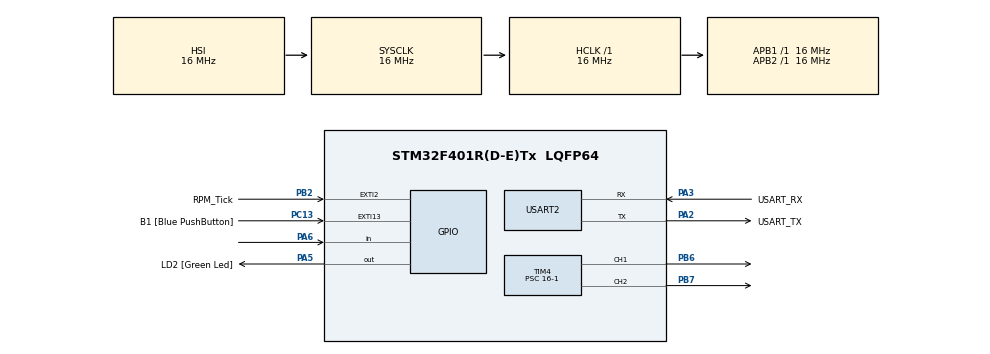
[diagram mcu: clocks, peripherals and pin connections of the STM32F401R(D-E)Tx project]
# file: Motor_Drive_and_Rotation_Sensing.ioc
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Mcu.Family=STM32F4
Mcu.Name=STM32F401R(D-E)Tx
Mcu.Package=LQFP64
NVIC.EXTI2_IRQn=true\:0\:0\:false\:false\:true\:true\:true\:true
NVIC.PriorityGroup=NVIC_PRIORITYGROUP_4
PA13.GPIO_Label=TMS
PA13.Mode=Trace_Asynchronous_SW
PA13.Signal=SYS_JTMS-SWDIO
PA14.GPIO_Label=TCK
PA14.Mode=Trace_Asynchronous_SW
PA14.Signal=SYS_JTCK-SWCLK
PA2.GPIO_Label=USART_TX
PA2.GPIO_Mode=GPIO_MODE_AF_PP
PA2.GPIO_PuPd=GPIO_NOPULL
PA2.GPIO_Speed=GPIO_SPEED_FREQ_LOW
PA2.Mode=Asynchronous
PA2.Signal=USART2_TX
PA3.GPIO_Label=USART_RX
PA3.GPIO_Mode=GPIO_MODE_AF_PP
PA3.GPIO_PuPd=GPIO_NOPULL
PA3.GPIO_Speed=GPIO_SPEED_FREQ_LOW
PA3.Mode=Asynchronous
PA3.Signal=USART2_RX
PA5.GPIO_Label=LD2 [Green Led]
PA5.GPIO_Mode=GPIO_MODE_OUTPUT_PP
PA5.GPIO_PuPd=GPIO_NOPULL
PA5.GPIO_Speed=GPIO_SPEED_FREQ_LOW
PA5.Signal=GPIO_Output
PA6.Signal=GPIO_Input
PB2.GPIO_Label=RPM_Tick
PB2.GPIO_PuPd=GPIO_NOPULL
PB2.Signal=GPXTI2
PB3.GPIO_Label=SWO
PB3.Mode=Trace_Asynchronous_SW
PB3.Signal=SYS_JTDO-SWO
PB6.Signal=S_TIM4_CH1
PB7.Signal=S_TIM4_CH2
PC13-ANTI_TAMP.GPIO_Label=B1 [Blue PushButton]
PC13-ANTI_TAMP.GPIO_ModeDefaultEXTI=GPIO_MODE_IT_FALLING
PC13-ANTI_TAMP.GPIO_PuPd=GPIO_NOPULL
PC13-ANTI_TAMP.Signal=GPXTI13
PC14-OSC32_IN.Mode=LSE-External-Oscillator
PC14-OSC32_IN.Signal=RCC_OSC32_IN
PC15-OSC32_OUT.Mode=LSE-External-Oscillator
PC15-OSC32_OUT.Signal=RCC_OSC32_OUT
PH0\ -\ OSC_IN.Mode=HSE-External-Clock-Source
PH0\ -\ OSC_IN.Signal=RCC_OSC_IN
PH1\ -\ OSC_OUT.Mode=HSE-External-Clock-Source
PH1\ -\ OSC_OUT.Signal=RCC_OSC_OUT
ProjectManager.HeapSize=0x200
ProjectManager.StackSize=0x400
ProjectManager.TargetToolchain=STM32CubeIDE
RCC.48MHZClocksFreq_Value=48000000
RCC.AHBFreq_Value=16000000
RCC.APB1Freq_Value=16000000
RCC.APB1TimFreq_Value=16000000
RCC.APB2Freq_Value=16000000
RCC.APB2TimFreq_Value=16000000
RCC.CortexFreq_Value=16000000
RCC.HCLKFreq_Value=16000000
RCC.HSE_VALUE=8000000
RCC.HSI_VALUE=16000000
RCC.PLLN=336
RCC.PLLP=RCC_PLLP_DIV4
RCC.PLLQ=7
RCC.SYSCLKFreq_VALUE=16000000
RCC.VCOOutputFreq_Value=336000000
SH.S_TIM4_CH1.0=TIM4_CH1,PWM Generation1 CH1
SH.S_TIM4_CH2.0=TIM4_CH2,PWM Generation2 CH2
TIM4.AutoReloadPreload=TIM_AUTORELOAD_PRELOAD_ENABLE
TIM4.Channel-PWM\ Generation1\ CH1=TIM_CHANNEL_1
TIM4.Channel-PWM\ Generation2\ CH2=TIM_CHANNEL_2
TIM4.Period=2000-1
TIM4.Prescaler=16-1
TIM4.Pulse-PWM\ Generation1\ CH1=1200-1
USART2.VirtualMode=VM_ASYNC
VP_TIM4_VS_ClockSourceINT.Mode=Internal
board=NUCLEO-F401RE

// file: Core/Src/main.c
/* USER CODE BEGIN Header */
/**
  ******************************************************************************
  * @file           : main.c
  * @brief          : Main program body
  ******************************************************************************
  * @attention
  *
  * Copyright (c) 2026 STMicroelectronics.
  * All rights reserved.
  *
  * This software is licensed under terms that can be found in the LICENSE file
  * in the root directory of this software component.
  * If no LICENSE file comes with this software, it is provided AS-IS.
  *
  ******************************************************************************
  */
/* USER CODE END Header */

#include "main.h"

/* USER CODE BEGIN Includes */
#include <stdio.h>
#include <string.h>
/* USER CODE END Includes */

TIM_HandleTypeDef htim4;

UART_HandleTypeDef huart2;

/* USER CODE BEGIN PV */
volatile uint32_t rpm_tick_count = 0;
/* USER CODE END PV */

void SystemClock_Config(void);
static void MX_GPIO_Init(void);
static void MX_USART2_UART_Init(void);
static void MX_TIM4_Init(void);

/* USER CODE BEGIN PFP */
static void RPM_Report(void);
/* USER CODE END PFP */

int main(void)
{

  HAL_Init();

  SystemClock_Config();

  MX_GPIO_Init();
  MX_USART2_UART_Init();
  MX_TIM4_Init();

  /* USER CODE BEGIN 2 */
  HAL_TIM_Base_Init(&htim4);
  HAL_TIM_PWM_Start(&htim4, TIM_CHANNEL_1);
  HAL_TIM_PWM_Start(&htim4, TIM_CHANNEL_2);
  /* USER CODE END 2 */

  while (1)
  {

    /* USER CODE BEGIN 3 */

    // Direction 1: CH1 produces PWM, CH2 stays at zero.
    TIM4->CCR2 = 0;

    for (int pulse = 1200; pulse <= 2000; pulse += 200)
    {
      TIM4->CCR1 = pulse;
      RPM_Report();
      HAL_Delay(5000);
    }

    for (int pulse = 1800; pulse >= 1200; pulse -= 200)
    {
      TIM4->CCR1 = pulse;
      RPM_Report();
      HAL_Delay(5000);
    }

    TIM4->CCR1 = 0;
    TIM4->CCR2 = 0;
    RPM_Report();
    HAL_Delay(5000);

    // Direction 2: CH2 produces PWM, CH1 stays at zero.

    for (int pulse = 1200; pulse <= 2000; pulse += 200)
    {
      TIM4->CCR2 = pulse;
      RPM_Report();
      HAL_Delay(5000);
    }

    for (int pulse = 1800; pulse >= 1200; pulse -= 200)
    {
      TIM4->CCR2 = pulse;
      RPM_Report();
      HAL_Delay(5000);
    }

    TIM4->CCR1 = 0;
    TIM4->CCR2 = 0;
    RPM_Report();
    HAL_Delay(5000);
  }
  /* USER CODE END 3 */
}

void SystemClock_Config(void)
{
  RCC_OscInitTypeDef RCC_OscInitStruct = {0};
  RCC_ClkInitTypeDef RCC_ClkInitStruct = {0};

  __HAL_RCC_PWR_CLK_ENABLE();
  __HAL_PWR_VOLTAGESCALING_CONFIG(PWR_REGULATOR_VOLTAGE_SCALE2);

  RCC_OscInitStruct.OscillatorType = RCC_OSCILLATORTYPE_HSI;
  RCC_OscInitStruct.HSIState = RCC_HSI_ON;
  RCC_OscInitStruct.HSICalibrationValue = RCC_HSICALIBRATION_DEFAULT;
  RCC_OscInitStruct.PLL.PLLState = RCC_PLL_NONE;

  if (HAL_RCC_OscConfig(&RCC_OscInitStruct) != HAL_OK)
  {
    Error_Handler();
  }

  RCC_ClkInitStruct.ClockType = RCC_CLOCKTYPE_HCLK | RCC_CLOCKTYPE_SYSCLK
                             | RCC_CLOCKTYPE_PCLK1 | RCC_CLOCKTYPE_PCLK2;
  RCC_ClkInitStruct.SYSCLKSource = RCC_SYSCLKSOURCE_HSI;
  RCC_ClkInitStruct.AHBCLKDivider = RCC_SYSCLK_DIV1;
  RCC_ClkInitStruct.APB1CLKDivider = RCC_HCLK_DIV1;
  RCC_ClkInitStruct.APB2CLKDivider = RCC_HCLK_DIV1;

  if (HAL_RCC_ClockConfig(&RCC_ClkInitStruct, FLASH_LATENCY_0) != HAL_OK)
  {
    Error_Handler();
  }
}

static void MX_TIM4_Init(void)
{

  TIM_ClockConfigTypeDef sClockSourceConfig = {0};
  TIM_MasterConfigTypeDef sMasterConfig = {0};
  TIM_OC_InitTypeDef sConfigOC = {0};

  htim4.Instance = TIM4;
  htim4.Init.Prescaler = 16 - 1;
  htim4.Init.CounterMode = TIM_COUNTERMODE_UP;
  htim4.Init.Period = 2000 - 1;
  htim4.Init.ClockDivision = TIM_CLOCKDIVISION_DIV1;
  htim4.Init.AutoReloadPreload = TIM_AUTORELOAD_PRELOAD_ENABLE;

  if (HAL_TIM_Base_Init(&htim4) != HAL_OK)
  {
    Error_Handler();
  }

  sClockSourceConfig.ClockSource = TIM_CLOCKSOURCE_INTERNAL;
  if (HAL_TIM_ConfigClockSource(&htim4, &sClockSourceConfig) != HAL_OK)
  {
    Error_Handler();
  }

  if (HAL_TIM_PWM_Init(&htim4) != HAL_OK)
  {
    Error_Handler();
  }

  sMasterConfig.MasterOutputTrigger = TIM_TRGO_RESET;
  sMasterConfig.MasterSlaveMode = TIM_MASTERSLAVEMODE_DISABLE;

  if (HAL_TIMEx_MasterConfigSynchronization(&htim4, &sMasterConfig) != HAL_OK)
  {
    Error_Handler();
  }

  sConfigOC.OCMode = TIM_OCMODE_PWM1;
  sConfigOC.Pulse = 1200 - 1;
  sConfigOC.OCPolarity = TIM_OCPOLARITY_HIGH;
  sConfigOC.OCFastMode = TIM_OCFAST_DISABLE;

  if (HAL_TIM_PWM_ConfigChannel(&htim4, &sConfigOC, TIM_CHANNEL_1) != HAL_OK)
  {
    Error_Handler();
  }

  sConfigOC.Pulse = 0;
  if (HAL_TIM_PWM_ConfigChannel(&htim4, &sConfigOC, TIM_CHANNEL_2) != HAL_OK)
  {
    Error_Handler();
  }

  HAL_TIM_MspPostInit(&htim4);
}

static void MX_USART2_UART_Init(void)
{

  huart2.Instance = USART2;
  huart2.Init.BaudRate = 115200;
  huart2.Init.WordLength = UART_WORDLENGTH_8B;
  huart2.Init.StopBits = UART_STOPBITS_1;
  huart2.Init.Parity = UART_PARITY_NONE;
  huart2.Init.Mode = UART_MODE_TX_RX;
  huart2.Init.HwFlowCtl = UART_HWCONTROL_NONE;
  huart2.Init.OverSampling = UART_OVERSAMPLING_16;

  if (HAL_UART_Init(&huart2) != HAL_OK)
  {
    Error_Handler();
  }

}

static void MX_GPIO_Init(void)
{
  GPIO_InitTypeDef GPIO_InitStruct = {0};

  __HAL_RCC_GPIOC_CLK_ENABLE();
  __HAL_RCC_GPIOH_CLK_ENABLE();
  __HAL_RCC_GPIOA_CLK_ENABLE();
  __HAL_RCC_GPIOB_CLK_ENABLE();

  HAL_GPIO_WritePin(LD2_GPIO_Port, LD2_Pin, GPIO_PIN_RESET);

  GPIO_InitStruct.Pin = B1_Pin;
  GPIO_InitStruct.Mode = GPIO_MODE_IT_FALLING;
  GPIO_InitStruct.Pull = GPIO_NOPULL;
  HAL_GPIO_Init(B1_GPIO_Port, &GPIO_InitStruct);

  GPIO_InitStruct.Pin = LD2_Pin;
  GPIO_InitStruct.Mode = GPIO_MODE_OUTPUT_PP;
  GPIO_InitStruct.Pull = GPIO_NOPULL;
  GPIO_InitStruct.Speed = GPIO_SPEED_FREQ_LOW;
  HAL_GPIO_Init(LD2_GPIO_Port, &GPIO_InitStruct);

  GPIO_InitStruct.Pin = GPIO_PIN_6;
  GPIO_InitStruct.Mode = GPIO_MODE_INPUT;
  GPIO_InitStruct.Pull = GPIO_NOPULL;
  HAL_GPIO_Init(GPIOA, &GPIO_InitStruct);

  GPIO_InitStruct.Pin = RPM_Tick_Pin;
  GPIO_InitStruct.Mode = GPIO_MODE_IT_RISING;
  GPIO_InitStruct.Pull = GPIO_NOPULL;
  HAL_GPIO_Init(RPM_Tick_GPIO_Port, &GPIO_InitStruct);

  HAL_NVIC_SetPriority(EXTI2_IRQn, 0, 0);
  HAL_NVIC_EnableIRQ(EXTI2_IRQn);

}

/* USER CODE BEGIN 4 */

/*
 * Called when an enabled GPIO EXTI interrupt occurs.
 * Only count pulses belonging to the RPM sensor.
 */
void HAL_GPIO_EXTI_Callback(uint16_t GPIO_Pin)
{
  if (GPIO_Pin == RPM_Tick_Pin)
  {
    rpm_tick_count++;
  }
}

/*
 * Report the cumulative pulse count from the main program.
 * UART transmission is kept outside the interrupt callback.
 */
static void RPM_Report(void)
{
  char message[64];

  sprintf(message,
          "RPM ticks: %lu\r\n",
          (unsigned long)rpm_tick_count);

  HAL_UART_Transmit(&huart2,
                    (uint8_t *)message,
                    (uint16_t)strlen(message),
                    100);
}

/* USER CODE END 4 */

void Error_Handler(void)
{
  __disable_irq();
  while (1)
  {
  }
}
